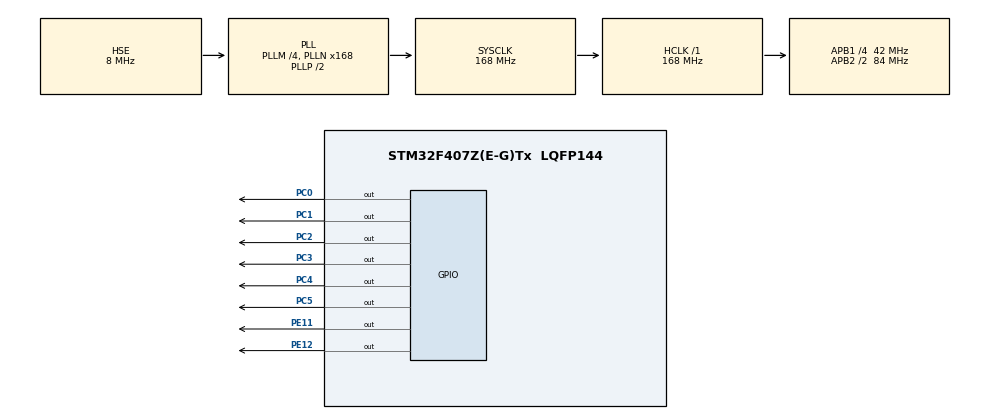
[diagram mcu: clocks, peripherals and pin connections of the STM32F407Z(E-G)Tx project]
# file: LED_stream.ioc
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Mcu.Family=STM32F4
Mcu.Name=STM32F407Z(E-G)Tx
Mcu.Package=LQFP144
NVIC.PriorityGroup=NVIC_PRIORITYGROUP_4
PA13.Mode=Serial_Wire
PA13.Signal=SYS_JTMS-SWDIO
PA14.Mode=Serial_Wire
PA14.Signal=SYS_JTCK-SWCLK
PC0.Signal=GPIO_Output
PC1.Signal=GPIO_Output
PC2.Signal=GPIO_Output
PC3.Signal=GPIO_Output
PC4.Signal=GPIO_Output
PC5.Signal=GPIO_Output
PE11.Signal=GPIO_Output
PE12.Signal=GPIO_Output
PH0-OSC_IN.Mode=HSE-External-Oscillator
PH0-OSC_IN.Signal=RCC_OSC_IN
PH1-OSC_OUT.Mode=HSE-External-Oscillator
PH1-OSC_OUT.Signal=RCC_OSC_OUT
ProjectManager.HeapSize=0x200
ProjectManager.StackSize=0x400
ProjectManager.TargetToolchain=CMake
RCC.48MHZClocksFreq_Value=84000000
RCC.AHBFreq_Value=168000000
RCC.APB1CLKDivider=RCC_HCLK_DIV4
RCC.APB1Freq_Value=42000000
RCC.APB1TimFreq_Value=84000000
RCC.APB2CLKDivider=RCC_HCLK_DIV2
RCC.APB2Freq_Value=84000000
RCC.APB2TimFreq_Value=168000000
RCC.CortexFreq_Value=168000000
RCC.HCLKFreq_Value=168000000
RCC.HSE_VALUE=8000000
RCC.HSI_VALUE=16000000
RCC.LSE_VALUE=32768
RCC.PLLM=4
RCC.PLLN=168
RCC.PLLSourceVirtual=RCC_PLLSOURCE_HSE
RCC.SYSCLKFreq_VALUE=168000000
RCC.SYSCLKSource=RCC_SYSCLKSOURCE_PLLCLK
RCC.VCOOutputFreq_Value=336000000
board=custom

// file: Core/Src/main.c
/* USER CODE BEGIN Header */
/**
  ******************************************************************************
  * @file           : main.c
  * @brief          : Main program body
  ******************************************************************************
  * @attention
  *
  * Copyright (c) 2025 STMicroelectronics.
  * All rights reserved.
  *
  * This software is licensed under terms that can be found in the LICENSE file
  * in the root directory of this software component.
  * If no LICENSE file comes with this software, it is provided AS-IS.
  *
  ******************************************************************************
  */
/* USER CODE END Header */
#include "main.h"

void SystemClock_Config(void);
static void MX_GPIO_Init(void);

int main(void)
{

  /* MCU Configuration--------------------------------------------------------*/

  /* Reset of all peripherals, Initializes the Flash interface and the Systick. */
  HAL_Init();

  /* Configure the system clock */
  SystemClock_Config();

  /* Initialize all configured peripherals */
  MX_GPIO_Init();

  /* Infinite loop */
  /* USER CODE BEGIN WHILE */
  while (1)
  {

    //1 light
    HAL_GPIO_WritePin(GPIOC, GPIO_PIN_0, GPIO_PIN_SET);
    HAL_GPIO_WritePin(GPIOC, GPIO_PIN_1, GPIO_PIN_RESET);
    HAL_GPIO_WritePin(GPIOC, GPIO_PIN_2, GPIO_PIN_RESET);
    HAL_GPIO_WritePin(GPIOC, GPIO_PIN_3, GPIO_PIN_RESET);
    HAL_GPIO_WritePin(GPIOC, GPIO_PIN_4, GPIO_PIN_RESET);
    HAL_GPIO_WritePin(GPIOC, GPIO_PIN_5, GPIO_PIN_RESET);
    HAL_GPIO_WritePin(GPIOE, GPIO_PIN_11, GPIO_PIN_RESET);
    HAL_GPIO_WritePin(GPIOE, GPIO_PIN_12, GPIO_PIN_RESET);
    HAL_Delay(250);

    //2 light
    HAL_GPIO_WritePin(GPIOC, GPIO_PIN_0, GPIO_PIN_RESET);
    HAL_GPIO_WritePin(GPIOC, GPIO_PIN_1, GPIO_PIN_SET);
    HAL_GPIO_WritePin(GPIOC, GPIO_PIN_2, GPIO_PIN_RESET);
    HAL_GPIO_WritePin(GPIOC, GPIO_PIN_3, GPIO_PIN_RESET);
    HAL_GPIO_WritePin(GPIOC, GPIO_PIN_4, GPIO_PIN_RESET);
    HAL_GPIO_WritePin(GPIOC, GPIO_PIN_5, GPIO_PIN_RESET);
    HAL_GPIO_WritePin(GPIOE, GPIO_PIN_11, GPIO_PIN_RESET);
    HAL_GPIO_WritePin(GPIOE, GPIO_PIN_12, GPIO_PIN_RESET);
    HAL_Delay(250);

    //3 light
    HAL_GPIO_WritePin(GPIOC, GPIO_PIN_0, GPIO_PIN_RESET);
    HAL_GPIO_WritePin(GPIOC, GPIO_PIN_1, GPIO_PIN_RESET);
    HAL_GPIO_WritePin(GPIOC, GPIO_PIN_2, GPIO_PIN_SET);
    HAL_GPIO_WritePin(GPIOC, GPIO_PIN_3, GPIO_PIN_RESET);
    HAL_GPIO_WritePin(GPIOC, GPIO_PIN_4, GPIO_PIN_RESET);
    HAL_GPIO_WritePin(GPIOC, GPIO_PIN_5, GPIO_PIN_RESET);
    HAL_GPIO_WritePin(GPIOE, GPIO_PIN_11, GPIO_PIN_RESET);
    HAL_GPIO_WritePin(GPIOE, GPIO_PIN_12, GPIO_PIN_RESET);
    HAL_Delay(250);

    //4 light
    HAL_GPIO_WritePin(GPIOC, GPIO_PIN_0, GPIO_PIN_RESET);
    HAL_GPIO_WritePin(GPIOC, GPIO_PIN_1, GPIO_PIN_RESET);
    HAL_GPIO_WritePin(GPIOC, GPIO_PIN_2, GPIO_PIN_RESET);
    HAL_GPIO_WritePin(GPIOC, GPIO_PIN_3, GPIO_PIN_SET);
    HAL_GPIO_WritePin(GPIOC, GPIO_PIN_4, GPIO_PIN_RESET);
    HAL_GPIO_WritePin(GPIOC, GPIO_PIN_5, GPIO_PIN_RESET);
    HAL_GPIO_WritePin(GPIOE, GPIO_PIN_11, GPIO_PIN_RESET);
    HAL_GPIO_WritePin(GPIOE, GPIO_PIN_12, GPIO_PIN_RESET);
    HAL_Delay(250);

    //5 light
    HAL_GPIO_WritePin(GPIOC, GPIO_PIN_0, GPIO_PIN_RESET);
    HAL_GPIO_WritePin(GPIOC, GPIO_PIN_1, GPIO_PIN_RESET);
    HAL_GPIO_WritePin(GPIOC, GPIO_PIN_2, GPIO_PIN_RESET);
    HAL_GPIO_WritePin(GPIOC, GPIO_PIN_3, GPIO_PIN_RESET);
    HAL_GPIO_WritePin(GPIOC, GPIO_PIN_4, GPIO_PIN_SET);
    HAL_GPIO_WritePin(GPIOC, GPIO_PIN_5, GPIO_PIN_RESET);
    HAL_GPIO_WritePin(GPIOE, GPIO_PIN_11, GPIO_PIN_RESET);
    HAL_GPIO_WritePin(GPIOE, GPIO_PIN_12, GPIO_PIN_RESET);
    HAL_Delay(250);

    //6 light
    HAL_GPIO_WritePin(GPIOC, GPIO_PIN_0, GPIO_PIN_RESET);
    HAL_GPIO_WritePin(GPIOC, GPIO_PIN_1, GPIO_PIN_RESET);
    HAL_GPIO_WritePin(GPIOC, GPIO_PIN_2, GPIO_PIN_RESET);
    HAL_GPIO_WritePin(GPIOC, GPIO_PIN_3, GPIO_PIN_RESET);
    HAL_GPIO_WritePin(GPIOC, GPIO_PIN_4, GPIO_PIN_RESET);
    HAL_GPIO_WritePin(GPIOC, GPIO_PIN_5, GPIO_PIN_SET);
    HAL_GPIO_WritePin(GPIOE, GPIO_PIN_11, GPIO_PIN_RESET);
    HAL_GPIO_WritePin(GPIOE, GPIO_PIN_12, GPIO_PIN_RESET);
    HAL_Delay(250);

    //7light
    HAL_GPIO_WritePin(GPIOC, GPIO_PIN_0, GPIO_PIN_RESET);
    HAL_GPIO_WritePin(GPIOC, GPIO_PIN_1, GPIO_PIN_RESET);
    HAL_GPIO_WritePin(GPIOC, GPIO_PIN_2, GPIO_PIN_RESET);
    HAL_GPIO_WritePin(GPIOC, GPIO_PIN_3, GPIO_PIN_RESET);
    HAL_GPIO_WritePin(GPIOC, GPIO_PIN_4, GPIO_PIN_RESET);
    HAL_GPIO_WritePin(GPIOC, GPIO_PIN_5, GPIO_PIN_RESET);
    HAL_GPIO_WritePin(GPIOE, GPIO_PIN_11, GPIO_PIN_SET);
    HAL_GPIO_WritePin(GPIOE, GPIO_PIN_12, GPIO_PIN_RESET);
    HAL_Delay(250);

    //8 light
    HAL_GPIO_WritePin(GPIOC, GPIO_PIN_0, GPIO_PIN_RESET);
    HAL_GPIO_WritePin(GPIOC, GPIO_PIN_1, GPIO_PIN_RESET);
    HAL_GPIO_WritePin(GPIOC, GPIO_PIN_2, GPIO_PIN_RESET);
    HAL_GPIO_WritePin(GPIOC, GPIO_PIN_3, GPIO_PIN_RESET);
    HAL_GPIO_WritePin(GPIOC, GPIO_PIN_4, GPIO_PIN_RESET);
    HAL_GPIO_WritePin(GPIOC, GPIO_PIN_5, GPIO_PIN_RESET);
    HAL_GPIO_WritePin(GPIOE, GPIO_PIN_11, GPIO_PIN_RESET);
    HAL_GPIO_WritePin(GPIOE, GPIO_PIN_12, GPIO_PIN_SET);
    HAL_Delay(250);
    /* USER CODE END WHILE */

  }
}

void SystemClock_Config(void)
{
  RCC_OscInitTypeDef RCC_OscInitStruct = {0};
  RCC_ClkInitTypeDef RCC_ClkInitStruct = {0};

  /** Configure the main internal regulator output voltage
  */
  __HAL_RCC_PWR_CLK_ENABLE();
  __HAL_PWR_VOLTAGESCALING_CONFIG(PWR_REGULATOR_VOLTAGE_SCALE1);

  /** Initializes the RCC Oscillators according to the specified parameters
  * in the RCC_OscInitTypeDef structure.
  */
  RCC_OscInitStruct.OscillatorType = RCC_OSCILLATORTYPE_HSE;
  RCC_OscInitStruct.HSEState = RCC_HSE_ON;
  RCC_OscInitStruct.PLL.PLLState = RCC_PLL_ON;
  RCC_OscInitStruct.PLL.PLLSource = RCC_PLLSOURCE_HSE;
  RCC_OscInitStruct.PLL.PLLM = 4;
  RCC_OscInitStruct.PLL.PLLN = 168;
  RCC_OscInitStruct.PLL.PLLP = RCC_PLLP_DIV2;
  RCC_OscInitStruct.PLL.PLLQ = 4;
  if (HAL_RCC_OscConfig(&RCC_OscInitStruct) != HAL_OK)
  {
    Error_Handler();
  }

  /** Initializes the CPU, AHB and APB buses clocks
  */
  RCC_ClkInitStruct.ClockType = RCC_CLOCKTYPE_HCLK|RCC_CLOCKTYPE_SYSCLK
                              |RCC_CLOCKTYPE_PCLK1|RCC_CLOCKTYPE_PCLK2;
  RCC_ClkInitStruct.SYSCLKSource = RCC_SYSCLKSOURCE_PLLCLK;
  RCC_ClkInitStruct.AHBCLKDivider = RCC_SYSCLK_DIV1;
  RCC_ClkInitStruct.APB1CLKDivider = RCC_HCLK_DIV4;
  RCC_ClkInitStruct.APB2CLKDivider = RCC_HCLK_DIV2;

  if (HAL_RCC_ClockConfig(&RCC_ClkInitStruct, FLASH_LATENCY_5) != HAL_OK)
  {
    Error_Handler();
  }
}

static void MX_GPIO_Init(void)
{
  GPIO_InitTypeDef GPIO_InitStruct = {0};

  /* GPIO Ports Clock Enable */
  __HAL_RCC_GPIOH_CLK_ENABLE();
  __HAL_RCC_GPIOC_CLK_ENABLE();
  __HAL_RCC_GPIOE_CLK_ENABLE();
  __HAL_RCC_GPIOA_CLK_ENABLE();

  /*Configure GPIO pin Output Level */
  HAL_GPIO_WritePin(GPIOC, GPIO_PIN_0|GPIO_PIN_1|GPIO_PIN_2|GPIO_PIN_3
                          |GPIO_PIN_4|GPIO_PIN_5, GPIO_PIN_RESET);

  /*Configure GPIO pin Output Level */
  HAL_GPIO_WritePin(GPIOE, GPIO_PIN_11|GPIO_PIN_12, GPIO_PIN_RESET);

  /*Configure GPIO pins : PC0 PC1 PC2 PC3
                           PC4 PC5 */
  GPIO_InitStruct.Pin = GPIO_PIN_0|GPIO_PIN_1|GPIO_PIN_2|GPIO_PIN_3
                          |GPIO_PIN_4|GPIO_PIN_5;
  GPIO_InitStruct.Mode = GPIO_MODE_OUTPUT_PP;
  GPIO_InitStruct.Pull = GPIO_NOPULL;
  GPIO_InitStruct.Speed = GPIO_SPEED_FREQ_LOW;
  HAL_GPIO_Init(GPIOC, &GPIO_InitStruct);

  /*Configure GPIO pins : PE11 PE12 */
  GPIO_InitStruct.Pin = GPIO_PIN_11|GPIO_PIN_12;
  GPIO_InitStruct.Mode = GPIO_MODE_OUTPUT_PP;
  GPIO_InitStruct.Pull = GPIO_NOPULL;
  GPIO_InitStruct.Speed = GPIO_SPEED_FREQ_LOW;
  HAL_GPIO_Init(GPIOE, &GPIO_InitStruct);

}

void Error_Handler(void)
{
  __disable_irq();
  while (1)
  {
  }
}
